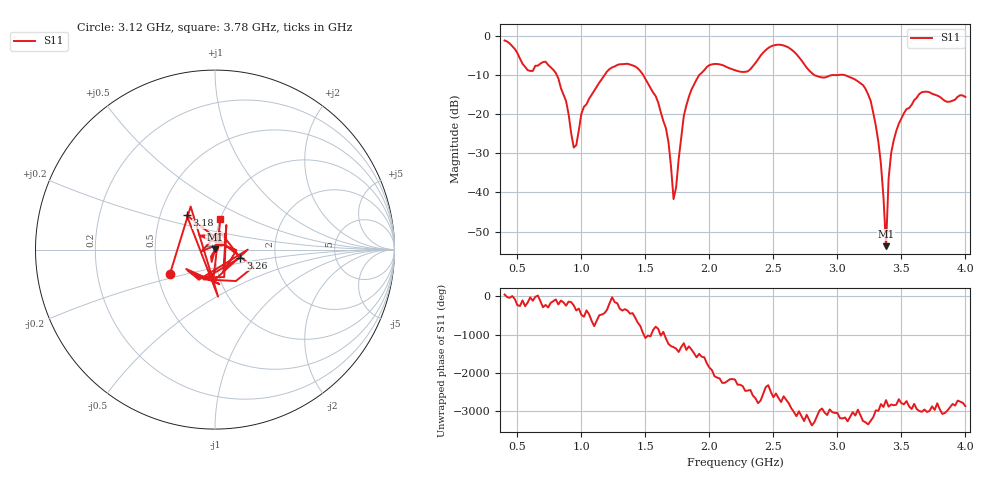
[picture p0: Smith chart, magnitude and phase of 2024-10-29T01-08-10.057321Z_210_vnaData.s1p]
!Created with skrf (http://scikit-rf.org).
# Hz S RI R 50.0
!freq ReS11 ImS11
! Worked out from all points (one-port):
!   181 points, 400 MHz to 4 GHz, reference 50 ohm
!   lowest |S11| = -53.7 dB at 3.38 GHz (marker M1), VSWR 1.00, Z = 49.8 + j0.0599 ohm
!   |S11| at or under -10 dB: 807.4 MHz to 1.181 GHz (374 MHz wide, 37.6 % of centre); 1.483 GHz to 1.921 GHz (438.7 MHz wide, 25.8 % of centre); 3.052 GHz to end of sweep (the widest 3 of 4)
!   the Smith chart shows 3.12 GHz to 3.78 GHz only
!   S11 on the Smith chart (normalised r, x): 3.12 GHz: 0.58, -0.17; 3.18 GHz: 0.68, +0.28; 3.26 GHz: 1.32, -0.12; 3.78 GHz: 1.00, +0.35
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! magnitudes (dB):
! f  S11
! 400 MHz  -1.2
! 580 MHz  -8.8
! 720 MHz  -6.6
! 860 MHz  -15.0
! 940 MHz  -28.5
! 1.02 GHz  -18.1
! 1.3 GHz  -7.3
! 1.58 GHz  -15.4
! 1.68 GHz  -27.1
! 1.72 GHz  -41.7
! 1.76 GHz  -31.5
! 1.8 GHz  -20.5
! 1.92 GHz  -10.0
! 2.2 GHz  -8.8
! 2.5 GHz  -2.5
! 2.66 GHz  -4.0
! 2.82 GHz  -10.1
! 3.1 GHz  -10.6
! 3.12 GHz  -10.9
! 3.18 GHz  -12.1
! 3.26 GHz  -16.6
! 3.34 GHz  -32.7
! 3.38 GHz  -53.7
! 3.4 GHz  -36.5
! 3.42 GHz  -29.9
! 3.56 GHz  -18.4
! 3.78 GHz  -15.3
! 4 GHz  -15.6
